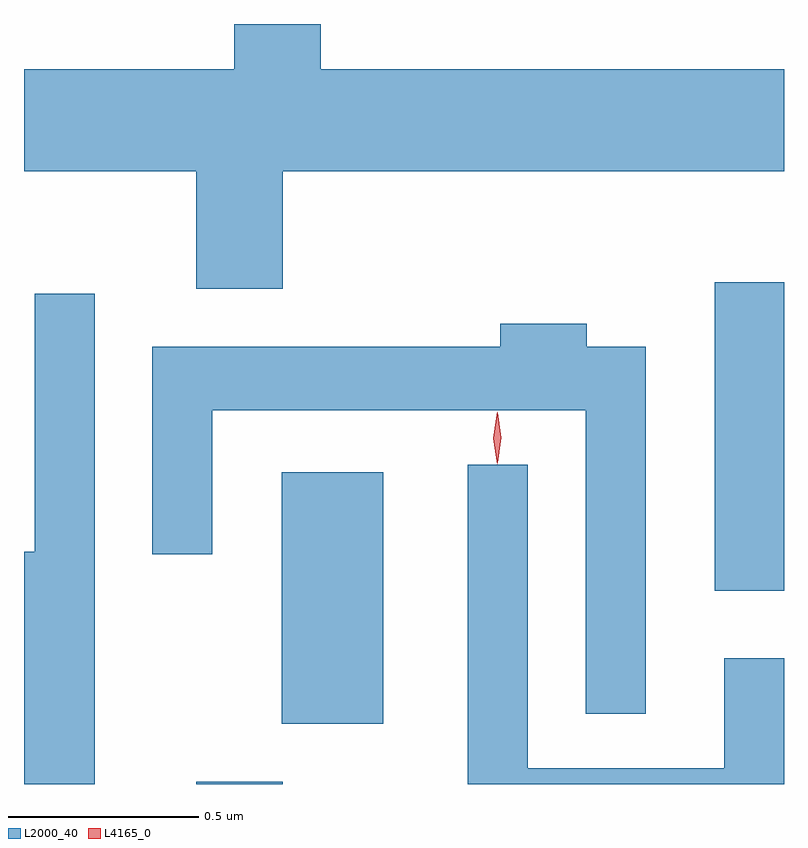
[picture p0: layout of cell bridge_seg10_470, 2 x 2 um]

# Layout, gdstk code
import gdstk
lib = gdstk.Library(unit=1e-6, precision=1e-09)
def R(c, l, rs):  # rectangles x0, y0, x1, y1
    for r in rs: c.add(gdstk.rectangle(r[:2], r[2:], *l))
def P(c, l, *ps):  # polygons
    for p in ps: c.add(gdstk.Polygon(p, *l))
L2000_40 = (2000, 40)
L4165_0 = (4165, 0)

bridge_seg10_470 = lib.new_cell('bridge_seg10_470')
R(bridge_seg10_470, L2000_40, [(1396.821,2096.763,1397.049,2096.769), (1397.046,2096.921,1397.314,2097.584), (1398.186,2097.271,1398.368,2098.084)])
P(bridge_seg10_470, L2000_40, [(1397.049,2098.376),(1398.368,2098.376),(1398.368,2098.644),(1397.149,2098.644),(1397.149,2098.763),(1396.921,2098.763),(1396.921,2098.644),(1396.368,2098.644),(1396.368,2098.376),(1396.821,2098.376),(1396.821,2098.066),(1397.049,2098.066)],
  [(1396.554,2098.053),(1396.396,2098.053),(1396.396,2097.374),(1396.368,2097.374),(1396.368,2096.763),(1396.554,2096.763)],
  [(1398.004,2097.914),(1397.849,2097.914),(1397.849,2097.974),(1397.621,2097.974),(1397.621,2097.914),(1396.706,2097.914),(1396.706,2097.368),(1396.864,2097.368),(1396.864,2097.746),(1397.846,2097.746),(1397.846,2096.948),(1398.004,2096.948)],
  [(1398.368,2097.094),(1398.211,2097.094),(1398.211,2096.804),(1397.694,2096.804),(1397.694,2097.603),(1397.536,2097.603),(1397.536,2096.763),(1398.368,2096.763)])
P(bridge_seg10_470, L4165_0, [(1397.614,2097.607),(1397.614,2097.608),(1397.604,2097.674),(1397.614,2097.74),(1397.614,2097.74),(1397.615,2097.74),(1397.624,2097.674),(1397.615,2097.608)],
  [(1397.613,2097.604),(1397.613,2097.604),(1397.603,2097.673),(1397.613,2097.742),(1397.613,2097.743),(1397.614,2097.742),(1397.623,2097.673),(1397.614,2097.604)])

lib.write_gds('bridge_seg10_470.gds')
